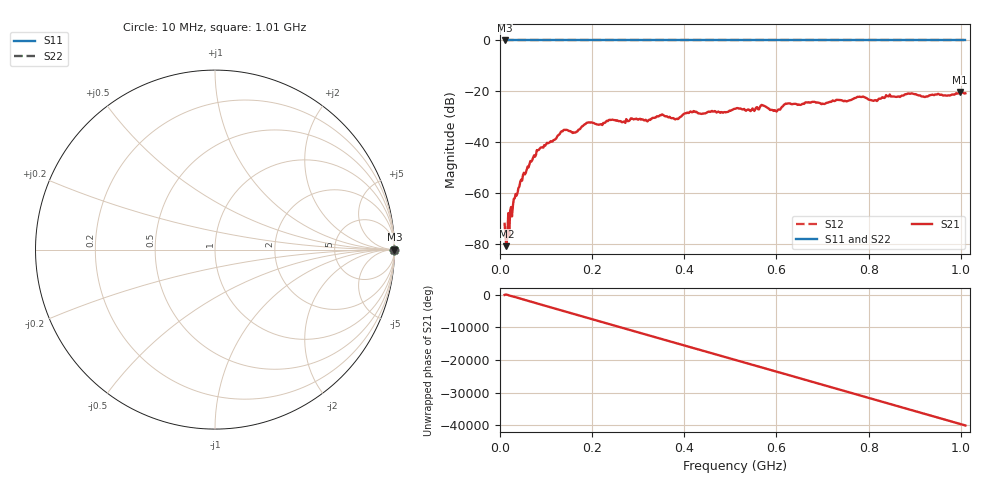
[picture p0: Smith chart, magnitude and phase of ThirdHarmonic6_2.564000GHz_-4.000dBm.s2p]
! 8/17/2025 5:19:18 AM
! C:\ANRITSUVNA\TEMP\TEMP.S2P
! CHANNEL.1
! TR.MEASUREMENT
! RAW.DATA
! RF.CORRECTION.OFF
! AVERAGING.OFF
! IF.BANDWIDTH: 5KHZ
! SWEEPTYPE:  FREQ.SWEEP(Linear)
! Reference Plane Port Info
! PORT:  PORT1  PORT2
! DISTANCE:  0  m  0  m
! TIME:  0  s  0  s
! PHASE.OFFSET:  0  deg.  0  deg.
! LOSS:  0  dB  0  dB
! REF.LOSS:  0  dB  0  dB
! REF.FREQ:  0  Hz  0  Hz
! Power Info
! POWER:  -20  dBm  -20  dBm
! EFF.POWER:  -20  dBm  -20  dBm
! SOURCE.ATTEN:  0  dB  0  dB
! TEST.ATTEN:  0  dB  0  dB
# GHZ S RI R 50.0
! FREQ.GHZ  S11RE  S11IM  S21RE  S21IM  S12RE  S12IM  S22RE  S22IM
!; PortSelection: Port_12
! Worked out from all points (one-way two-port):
!   501 points, 10 MHz to 1.01 GHz, reference 50 ohm
!   highest |S21| = -20.33 dB at 998 MHz (marker M1); lowest = -81.0 dB at 14 MHz (marker M2)
!   lowest |S11| = 0.0 dB at 10 MHz (marker M3)
!   |S11| at or under -10 dB: nowhere
!   |S22| runs from 0.0 to 0.0 dB; largest |S21 - S12| = 1.1
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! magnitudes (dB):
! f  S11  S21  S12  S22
! 10 MHz  0.0  -72.2  0.0  0.0
! 14 MHz  0.0  -81.0  0.0  0.0
! 16 MHz  0.0  -76.6  0.0  0.0
! 26 MHz  0.0  -69.3  0.0  0.0
! 48 MHz  0.0  -55.2  0.0  0.0
! 84 MHz  0.0  -43.2  0.0  0.0
! 136 MHz  0.0  -35.8  0.0  0.0
! 162 MHz  0.0  -36.3  0.0  0.0
! 178 MHz  0.0  -33.9  0.0  0.0
! 344 MHz  0.0  -29.9  0.0  0.0
! 384 MHz  0.0  -30.9  0.0  0.0
! 416 MHz  0.0  -28.3  0.0  0.0
! 510 MHz  0.0  -26.9  0.0  0.0
! 570 MHz  0.0  -25.6  0.0  0.0
! 598 MHz  0.0  -27.6  0.0  0.0
! 622 MHz  0.0  -25.0  0.0  0.0
! 678 MHz  0.0  -24.2  0.0  0.0
! 784 MHz  0.0  -22.3  0.0  0.0
! 814 MHz  0.0  -23.5  0.0  0.0
! 844 MHz  0.0  -22.0  0.0  0.0
! 998 MHz  0.0  -20.3  0.0  0.0
! 1.01 GHz  0.0  -20.8  0.0  0.0
